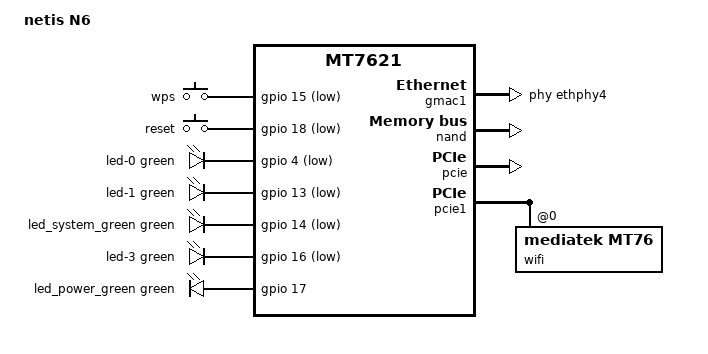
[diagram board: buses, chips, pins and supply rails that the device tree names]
// SPDX-License-Identifier: GPL-2.0-or-later OR MIT

#include "mt7621.dtsi"

#include <dt-bindings/gpio/gpio.h>
#include <dt-bindings/input/input.h>
#include <dt-bindings/leds/common.h>

/ {
	compatible = "netis,n6", "mediatek,mt7621-soc";
	model = "netis N6";

	aliases {
		label-mac-device = &gmac0;

		led-boot = &led_power_green;
		led-failsafe = &led_system_green;
		led-running = &led_power_green;
		led-upgrade = &led_system_green;
	};

	chosen {
		bootargs = "console=ttyS0,115200";
	};

	keys {
		compatible = "gpio-keys";

		key-0 {
			label = "wps";
			gpios = <&gpio 15 GPIO_ACTIVE_LOW>;
			linux,code = <KEY_WPS_BUTTON>;
			debounce-interval = <60>;
		};

		key-1 {
			label = "reset";
			gpios = <&gpio 18 GPIO_ACTIVE_LOW>;
			linux,code = <KEY_RESTART>;
			debounce-interval = <60>;
		};
	};

	leds {
		compatible = "gpio-leds";

		led-0 {
			color = <LED_COLOR_ID_GREEN>;
			function = LED_FUNCTION_USB;
			gpios = <&gpio 4 GPIO_ACTIVE_LOW>;
			trigger-sources = <&xhci_ehci_port1>;
			linux,default-trigger = "usbport";
		};

		led-1 {
			color = <LED_COLOR_ID_GREEN>;
			function = LED_FUNCTION_WPS;
			gpios = <&gpio 13 GPIO_ACTIVE_LOW>;
		};

		led_system_green: led-2 {
			color = <LED_COLOR_ID_GREEN>;
			function = LED_FUNCTION_INDICATOR;
			gpios = <&gpio 14 GPIO_ACTIVE_LOW>;
		};

		led-3 {
			color = <LED_COLOR_ID_GREEN>;
			function = LED_FUNCTION_WAN;
			gpios = <&gpio 16 GPIO_ACTIVE_LOW>;
		};

		led_power_green: led-4 {
			color = <LED_COLOR_ID_GREEN>;
			function = LED_FUNCTION_POWER;
			gpios = <&gpio 17 GPIO_ACTIVE_HIGH>;
		};
	};
};

&gmac0 {
	nvmem-cells = <&macaddr_factory_7ef20 0>;
	nvmem-cell-names = "mac-address";
};

&gmac1 {
	status = "okay";
	label = "wan";
	phy-handle = <&ethphy4>;

	nvmem-cells = <&macaddr_factory_7ef26 0>;
	nvmem-cell-names = "mac-address";
};

&ethphy4 {
	/delete-property/ interrupts;
};

&nand {
	status = "okay";

	mediatek,nmbm;
	mediatek,bmt-remap-range = <0x000000 0x580000>;

	partitions {
		compatible = "fixed-partitions";
		#address-cells = <1>;
		#size-cells = <1>;

		partition@0 {
			label = "u-boot";
			reg = <0x0 0x80000>;
			read-only;
		};

		partition@80000 {
			label = "Config";
			reg = <0x80000 0x80000>;
		};

		partition@100000 {
			label = "Factory";
			reg = <0x100000 0x80000>;
			read-only;

			nvmem-layout {
				compatible = "fixed-layout";
				#address-cells = <1>;
				#size-cells = <1>;

				eeprom_factory_0: eeprom@0 {
					reg = <0x0 0xe00>;
				};

				macaddr_factory_7ef20: macaddr@7ef20 {
					reg = <0x7ef20 0x6>;
				};

				macaddr_factory_7ef26: macaddr@7ef26 {
					reg = <0x7ef26 0x6>;
				};
			};
		};

		partition@180000 {
			label = "firmware";
			reg = <0x180000 0x7680000>;

			compatible = "fixed-partitions";
			#address-cells = <1>;
			#size-cells = <1>;

			partition@0 {
				label = "kernel";
				reg = <0x0 0x400000>;
			};

			partition@400000 {
				label = "ubi";
				reg = <0x400000 0x7280000>;
			};
		};
	};
};

&pcie {
	status = "okay";
};

&pcie1 {
	wifi@0,0 {
		compatible = "mediatek,mt76";
		reg = <0x0000 0 0 0 0>;

		/*
		 * *** The code block below is commented out ***
		 * Reason: Probably, original Netis N6 EEPROM has wrong
		 *         MT_EE_WIFI_CONF value 0xd2. As a result 2.4 GHz
		 *         doesn't start with mt76 driver. Other routers
		 *         with the same WLAN chips (e.g., Routerich
		 *         AX1800) have  MT_EE_WIFI_CONF = 0x92.
		 * Workaround: Extract EEPROM to a file at the first time
		 *             boot and change MT_EE_WIFI_CONF (offset
		 *             0x190) value from 0xd2 to 0x92. See
		 *             /etc/hotplug.d/firmware/11-mt76-caldata for
		 *             details.
		 */

		/*
		nvmem-cells = <&eeprom_factory_0>;
		nvmem-cell-names = "eeprom";
		*/

		mediatek,disable-radar-background;
	};
};

&state_default {
	gpio {
		groups =  "i2c", "jtag", "wdt";
		function = "gpio";
	};
};

&switch0 {
	ports {
		port@0 {
			status = "okay";
			label = "lan4";
		};

		port@1 {
			status = "okay";
			label = "lan3";
		};

		port@2 {
			status = "okay";
			label = "lan2";
		};

		port@3 {
			status = "okay";
			label = "lan1";
		};
	};
};
